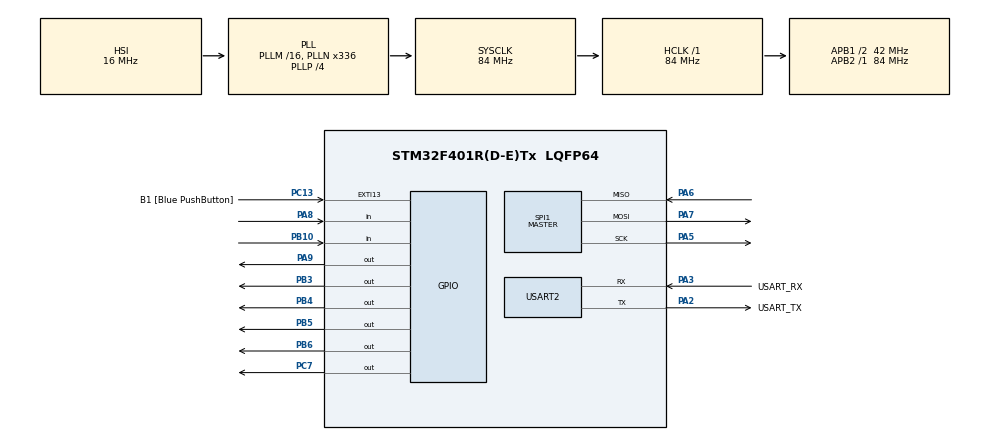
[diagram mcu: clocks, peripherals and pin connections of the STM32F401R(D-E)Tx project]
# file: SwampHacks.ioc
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Mcu.Family=STM32F4
Mcu.Name=STM32F401R(D-E)Tx
Mcu.Package=LQFP64
NVIC.PriorityGroup=NVIC_PRIORITYGROUP_4
PA13.GPIO_Label=TMS
PA13.Signal=SYS_JTMS-SWDIO
PA14.GPIO_Label=TCK
PA14.Signal=SYS_JTCK-SWCLK
PA2.GPIO_Label=USART_TX
PA2.GPIO_Mode=GPIO_MODE_AF_PP
PA2.GPIO_PuPd=GPIO_NOPULL
PA2.GPIO_Speed=GPIO_SPEED_FREQ_LOW
PA2.Mode=Asynchronous
PA2.Signal=USART2_TX
PA3.GPIO_Label=USART_RX
PA3.GPIO_Mode=GPIO_MODE_AF_PP
PA3.GPIO_PuPd=GPIO_NOPULL
PA3.GPIO_Speed=GPIO_SPEED_FREQ_LOW
PA3.Mode=Asynchronous
PA3.Signal=USART2_RX
PA5.Mode=Full_Duplex_Master
PA5.Signal=SPI1_SCK
PA6.Mode=Full_Duplex_Master
PA6.Signal=SPI1_MISO
PA7.Mode=Full_Duplex_Master
PA7.Signal=SPI1_MOSI
PA8.GPIO_PuPd=GPIO_PULLUP
PA8.Signal=GPIO_Input
PA9.Signal=GPIO_Output
PB10.GPIO_PuPd=GPIO_PULLUP
PB10.Signal=GPIO_Input
PB3.Signal=GPIO_Output
PB4.Signal=GPIO_Output
PB5.Signal=GPIO_Output
PB6.Signal=GPIO_Output
PC13-ANTI_TAMP.GPIO_Label=B1 [Blue PushButton]
PC13-ANTI_TAMP.GPIO_ModeDefaultEXTI=GPIO_MODE_IT_FALLING
PC13-ANTI_TAMP.GPIO_PuPd=GPIO_NOPULL
PC13-ANTI_TAMP.Signal=GPXTI13
PC14-OSC32_IN.Mode=LSE-External-Oscillator
PC14-OSC32_IN.Signal=RCC_OSC32_IN
PC15-OSC32_OUT.Mode=LSE-External-Oscillator
PC15-OSC32_OUT.Signal=RCC_OSC32_OUT
PC7.Signal=GPIO_Output
PH0\ -\ OSC_IN.Mode=HSE-External-Clock-Source
PH0\ -\ OSC_IN.Signal=RCC_OSC_IN
PH1\ -\ OSC_OUT.Mode=HSE-External-Clock-Source
PH1\ -\ OSC_OUT.Signal=RCC_OSC_OUT
ProjectManager.HeapSize=0x200
ProjectManager.StackSize=0x400
ProjectManager.TargetToolchain=CMake
RCC.48MHZClocksFreq_Value=48000000
RCC.AHBFreq_Value=84000000
RCC.APB1CLKDivider=RCC_HCLK_DIV2
RCC.APB1Freq_Value=42000000
RCC.APB1TimFreq_Value=84000000
RCC.APB2Freq_Value=84000000
RCC.APB2TimFreq_Value=84000000
RCC.CortexFreq_Value=84000000
RCC.HCLKFreq_Value=84000000
RCC.HSE_VALUE=8000000
RCC.HSI_VALUE=16000000
RCC.PLLN=336
RCC.PLLP=RCC_PLLP_DIV4
RCC.PLLQ=7
RCC.SYSCLKFreq_VALUE=84000000
RCC.SYSCLKSource=RCC_SYSCLKSOURCE_PLLCLK
RCC.VCOOutputFreq_Value=336000000
SPI1.BaudRatePrescaler=SPI_BAUDRATEPRESCALER_8
SPI1.Direction=SPI_DIRECTION_2LINES
SPI1.Mode=SPI_MODE_MASTER
SPI1.VirtualType=VM_MASTER
USART2.VirtualMode=VM_ASYNC
board=NUCLEO-F401RE

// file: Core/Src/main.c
/* USER CODE BEGIN Header */
/**
  ******************************************************************************
  * @file           : main.c
  * @brief          : Main program body
  ******************************************************************************
  * @attention
  *
  * Copyright (c) 2026 STMicroelectronics.
  * All rights reserved.
  *
  * This software is licensed under terms that can be found in the LICENSE file
  * in the root directory of this software component.
  * If no LICENSE file comes with this software, it is provided AS-IS.
  *
  ******************************************************************************
  */
/* USER CODE END Header */
#include "main.h"

/* USER CODE BEGIN Includes */
#include <stdio.h>
#include <string.h>
/* USER CODE END Includes */

SPI_HandleTypeDef hspi1;

UART_HandleTypeDef huart2;

void SystemClock_Config(void);
static void MX_GPIO_Init(void);
static void MX_USART2_UART_Init(void);
static void MX_SPI1_Init(void);

/* USER CODE BEGIN 0 */

// === LCD PIN NAMES ===
#define LCD_CS_PORT   GPIOB       // CHIP SELECTf
#define LCD_CS_PIN    GPIO_PIN_6  // IF LOW THEN LISTEN

#define LCD_DC_PORT   GPIOC       // DATA
#define LCD_DC_PIN    GPIO_PIN_7  // IF LOW; COMMAND | IF HIGH; SEND BYTES

#define LCD_RST_PORT  GPIOA       // REBOOT; LOW TO HIGH
#define LCD_RST_PIN   GPIO_PIN_9

// === OUR HAL FOR THE DISPLAY ===

void LCD_WriteCmd(uint8_t cmd)
{
  HAL_GPIO_WritePin(LCD_DC_PORT, LCD_DC_PIN, GPIO_PIN_RESET); // we're about to send a COMMAND (1byte) to screen
  HAL_GPIO_WritePin(LCD_CS_PORT, LCD_CS_PIN, GPIO_PIN_RESET); // make screen listen
  HAL_SPI_Transmit(&hspi1, &cmd,1, 10);
  HAL_GPIO_WritePin(LCD_CS_PORT, LCD_CS_PIN, GPIO_PIN_SET); // done talking; stop listening
}

void LCD_WriteData(uint8_t data)
{
  HAL_GPIO_WritePin(LCD_DC_PORT, LCD_DC_PIN, GPIO_PIN_SET);   // we're about to send DATA to screen
  HAL_GPIO_WritePin(LCD_CS_PORT, LCD_CS_PIN, GPIO_PIN_RESET); // make screen listen
  HAL_SPI_Transmit(&hspi1, &data,1, 10);
  HAL_GPIO_WritePin(LCD_CS_PORT, LCD_CS_PIN, GPIO_PIN_SET); // done talking; stop listening
}

void LCD_Init(void)
{
  HAL_GPIO_WritePin(LCD_CS_PORT, LCD_CS_PIN, GPIO_PIN_SET); // not sending anything
  HAL_GPIO_WritePin(LCD_RST_PORT, LCD_RST_PIN, GPIO_PIN_RESET);
  HAL_Delay(50);
  HAL_GPIO_WritePin(LCD_RST_PORT, LCD_RST_PIN, GPIO_PIN_SET); // reset done
  HAL_Delay(120);

  // command 0x01 is to RESET
  LCD_WriteCmd(0x01);
  HAL_Delay(100);

  // command 0x11 is sleep out (WAKE UP) to starts the voltage supply
  LCD_WriteCmd(0x11);
  HAL_Delay(120);

  // command 0x3A is for PIXEL FORMAT, then 0x55 means 16bit input (screen manufacturer decided)
  // , we just want 2bytes for the color of a pixel
  LCD_WriteCmd(0x3A);
  LCD_WriteData(0x55);

  // command 0x36 is for MEMORY CONTROL, then data 0x48 for portrait orientation and BGR color order
  LCD_WriteCmd(0x36);
  LCD_WriteData(0x48);

  // command 0x29 is to TURN ON DISPLAY
  LCD_WriteCmd(0x29);
  HAL_Delay(20);
}

//16 BIT COLOR
//16 BIT
void LCD_DrawRect(uint16_t x, uint16_t y, uint16_t w, uint16_t h, uint16_t color)
{
  uint16_t x2 = x + w - 1;   // LAST COLUMN (last x at 239)
  uint16_t y2 = y + h - 1;   // LAST ROW (last y at 319)

  // === COMMAND TO SET 1ST BOUNDARY PIXEL ===

  LCD_WriteCmd(0x2A);            // next 4 data COMMAND bytes for column

  // START COLUMN X
  LCD_WriteData(x >> 8);         // send high byte
  LCD_WriteData(x & 0xFF);       // send low byte

  // END COLUMN X
  LCD_WriteData(x2 >> 8);        // send high byte
  LCD_WriteData(x2 & 0xFF);      // send low byte

  // === COMMAND TO SET 2ND BOUNDARY PIXEL ===

  LCD_WriteCmd(0x2B);            // next 4 data COMMAND bytes for row

  // START ROW Y
  LCD_WriteData(y >> 8);         // send high byte
  LCD_WriteData(y & 0xFF);       // send low byte

  // END ROW Y
  LCD_WriteData(y2 >> 8);        // send high byte
  LCD_WriteData(y2 & 0xFF);      // send low byte

  // === WRITE TO SCREENS MEMORY TO DRAW BACKGROUND ===

  LCD_WriteCmd(0x2C);

  uint8_t pix[2] = { color >> 8, color & 0xFF};
  HAL_GPIO_WritePin(LCD_DC_PORT, LCD_DC_PIN, GPIO_PIN_SET);
  HAL_GPIO_WritePin(LCD_CS_PORT, LCD_CS_PIN, GPIO_PIN_RESET);
  for (int i = 0 ; i < w*h ; i++)
  {
    HAL_SPI_Transmit(&hspi1, pix, 2, 10);
  }
  HAL_GPIO_WritePin(LCD_CS_PORT, LCD_CS_PIN, GPIO_PIN_SET);
}

#define RGB565(r, g, b)  ( (((r) & 0xF8) << 8) | (((g) & 0xFC) << 3) | ((b) >> 3) )

static uint32_t rng_state = 12345;
static uint32_t Rand(void)
{
  rng_state = rng_state * 1103515245u + 12345u;   // random generator
  return (rng_state >> 16) & 0x7FFF;
}

static void Frame(uint16_t t, uint16_t color)       // make a border t pixels thick
{
  LCD_DrawRect(0, 0, 240, t, color);
  LCD_DrawRect(0, 320 - t, 240, t, color);
  LCD_DrawRect(0, 0, t, 320, color);
  LCD_DrawRect(240 - t, 0, t, 320, color);
}

void LCD_DrawPaper(void)
{
  rng_state = 12345;

  // BASE PAPER
  LCD_DrawRect(0, 0, 240, 320, RGB565(210, 180, 140));

  // BLOTCHES
  for (int i = 0; i < 25; i++)
  {
    // Random width and heigght (between 0 and 30)
    uint16_t w = 10 + Rand() % 30;
    uint16_t h = 10 + Rand() % 30;

    // Random x and y position for top left of blotch rectangle so it wont come off the screen
    uint16_t x = Rand() % (240 - w);
    uint16_t y = Rand() % (320 - h);

    uint16_t blotchColor;
    if (i % 2) { // basically an alternating boolean
      blotchColor = RGB565(218, 190, 150);
    } else {
      blotchColor = RGB565(200, 168, 128);
    }
    LCD_DrawRect(x, y, w, h, blotchColor);
  }

  // GUNK SPECKS
  for (int i = 0 ; i < 60 ; i++)
  {
    uint16_t x = Rand() % 238;       // random column
    uint16_t y = Rand() % 318;       // random row
    uint16_t w = 1 + Rand() % 2;     // 1 or 2 pixels wide
    uint16_t h = 1 + Rand() % 2;     // 1 or 2 pixels tall
    LCD_DrawRect(x, y, w, h, RGB565(150, 110, 70));
  }
  // DARKER BORDERS
  Frame(12, RGB565(205, 173, 131));
  Frame(8,  RGB565(197, 162, 118));
  Frame(4,  RGB565(185, 148, 104));
}

#define T_IRQ_PORT GPIOA
#define T_IRQ_PIN  GPIO_PIN_8 // ACTIVE LOW FOR TRUE PRESSED

uint8_t Touch_IsPressed(void)
{
  if (HAL_GPIO_ReadPin(T_IRQ_PORT, T_IRQ_PIN) == GPIO_PIN_RESET)
  {
  return 1;
  } else {
    return 0;
  }
}

#define T_DO_PORT GPIOB
#define T_DO_PIN  GPIO_PIN_10 // SEND A TOUCH INPUT FROM TOUCH CHIP TO THE STM32

#define T_DIN_PORT GPIOB
#define T_DIN_PIN  GPIO_PIN_4 // SEND AN STM32 INPUT TO THE TOUCH CHIP

#define T_CS_PORT GPIOB
#define T_CS_PIN  GPIO_PIN_5 // ACTIVE LOW TO TALK TO CHIP

#define T_CLK_PORT GPIOB
#define T_CLK_PIN GPIO_PIN_3 // CLOCK; RISE AND FALL EDGE TO SEND 1BIT

static void Touch_Delay(void)
{
  for (volatile int d = 0 ; d < 30 ; d++);
}

// This screen uses the XPT2046 touch chip which we communicate with more crudely since the STM32s SPI wires are already
// being used by the ILI9341 display chip (he's more complex to mess with)
uint16_t Touch_ReadUncalibrated(uint8_t cmd)
{
  uint16_t data = 0;

  HAL_GPIO_WritePin(T_CS_PORT, T_CS_PIN, GPIO_PIN_RESET); // select xpt2046

  // === SENDING X/Y LISTENING COMMAND TO XPT2046 ===
  // OxD0 for X
  // 0x90 for Y

  for (int i = 7 ; i >= 0 ; i--) // translating command to binary XPT2046 understands
  {
    if (cmd & (1 << i) )
    {
     HAL_GPIO_WritePin(T_DIN_PORT,T_DIN_PIN,GPIO_PIN_SET);
    } else {
      HAL_GPIO_WritePin(T_DIN_PORT,T_DIN_PIN,GPIO_PIN_RESET);
    }

    // Set up clock; want it to alternate at a reasonable rate so that the XPT2046 can keep up to read incoming bits
    HAL_GPIO_WritePin(T_CLK_PORT, T_CLK_PIN, GPIO_PIN_SET);
    Touch_Delay();
    HAL_GPIO_WritePin(T_CLK_PORT, T_CLK_PIN, GPIO_PIN_RESET);
    Touch_Delay();
  }

  // === READING WHAT XPT2046 SAYS THE X/Y POSITION IS ==

  for (int i = 15 ; i >= 0 ; i--)
  {
    HAL_GPIO_WritePin(T_CLK_PORT, T_CLK_PIN, GPIO_PIN_SET); // rising edge; TDO stays same
    Touch_Delay();

    if (HAL_GPIO_ReadPin(T_DO_PORT, T_DO_PIN) == GPIO_PIN_SET) // force a 1 in all the spots that have a 1
    {
      data |= (1 << i);
    }

    HAL_GPIO_WritePin(T_CLK_PORT, T_CLK_PIN, GPIO_PIN_RESET); // falling edge; TDO sends a bit
    Touch_Delay();
  }

  HAL_GPIO_WritePin(T_CS_PORT, T_CS_PIN, GPIO_PIN_SET);

  //Positions are only 12 bits long, so move over 3
  return (data >> 3) & 0x0FFF;
}

// === RECALIBRATE THE READING OF THE WAND ===
//force an OK value?

uint8_t Touch_ReadFiltered(uint16_t *outX, uint16_t *outY)
{
  // Total of multiple tries to measure
  uint32_t sumX = 0;
  uint32_t sumY = 0;

  //Highest and lowest readings; basically wanting to bring these extremes close
  uint16_t minX = 4095;
  uint16_t maxX = 0;
  uint16_t minY = 4095;
  uint16_t maxY = 0;

  for (int i = 0 ; i < 5 ; i++) // SAMPLE 5 TIMES !!!!!!MIGHT NEED TO TRY MORE!!!!!!!!!!
  {
    if (!Touch_IsPressed())
    {
      return 0;
    }

    uint16_t rx = Touch_ReadUncalibrated(0xD0);
    uint16_t ry = Touch_ReadUncalibrated(0x90);

    if (rx < 150 || rx > 3950 || ry < 150 || ry > 3950)
    {
      return 0;
    }

    if (rx < minX)
    {
      minX = rx;
    }

    if (rx > maxX)
    {
      maxX = rx;
    }

    if (ry < minY)
    {
      minY = ry;
    }

    if (ry > maxY)
    {
      maxY = ry;
    }

    sumX += rx;
    sumY += ry;
  }

  if ((maxX - minX) > 60 || (maxY - minY) > 60)
  {
    return 0;
  }

  *outX = sumX / 5;
  *outY = sumY / 5;
  return 1;
}

// === SPELL CASTING AND SENDING ===

void Send_Text(const char *text) //ufart what spell casted
{
  HAL_UART_Transmit(&huart2, (uint8_t *)text, strlen(text), 100);
}

#define SPELL_NONE      0
#define SPELL_WATER     1
#define SPELL_LIGHTNING 2
#define SPELL_FIRE      3
#define SPELL_WIND      4

uint8_t Recognize_Spell(int width, int height, int gap)
{
  if (width > 40 && height > 40 && gap < (width + height) / 3)
  {
    return SPELL_FIRE; // fire is when squareish and a pointy side
  }

  if (width > 40 && height < (width/5))
  {
    return SPELL_WATER; // water is when just wide and kinda flat
  }

  if (height > 40 && height > width * 2)
  {
    return SPELL_LIGHTNING; // lightning is when evil water
  }

  if (width > 40 && height > width/4) {
    return SPELL_WIND;
  }

  return SPELL_NONE;
}

/* USER CODE END 0 */

int main(void)
{

  /* MCU Configuration--------------------------------------------------------*/

  /* Reset of all peripherals, Initializes the Flash interface and the Systick. */
  HAL_Init();

  /* Configure the system clock */
  SystemClock_Config();

  /* Initialize all configured peripherals */
  MX_GPIO_Init();
  MX_USART2_UART_Init();
  MX_SPI1_Init();
  /* USER CODE BEGIN 2 */

  HAL_GPIO_WritePin(T_CS_PORT, T_CS_PIN, GPIO_PIN_SET);

  LCD_Init();
  LCD_DrawPaper();

  uint16_t cal_x1=0;
  uint16_t cal_y1=0; // calibration point 1

  uint16_t cal_x2=0;
  uint16_t cal_y2=0; // calibration point 2

  LCD_DrawRect(15,15,12,12, RGB565(255,0,0));

  while (!Touch_ReadFiltered(&cal_x1, &cal_y1)); // GUARANTEE STABLE READING

  LCD_DrawPaper();
  while (Touch_IsPressed());
  HAL_Delay(200);

  LCD_DrawRect(214, 294, 12, 12, RGB565(0, 255, 0));

  while (!Touch_ReadFiltered(&cal_x2, &cal_y2)); // SAME ^^^

  LCD_DrawPaper();
  while (Touch_IsPressed());
  HAL_Delay(200);

  int red_x = 20;
  int red_y = 20;

  int green_x = 220;
  int green_y = 300;

  int point_count = 0;

  uint32_t last_touch_time = 0;

  int start_x = 0;
  int start_y = 0;

  int end_x = 0;
  int end_y = 0;

  int min_x = 0;
  int max_x = 0;

  int min_y = 0;
  int max_y = 0;

  int stroke_count = 0;

  int first_min_x = 0;
  int first_max_x = 0;

  int first_min_y = 0;
  int first_max_y = 0;

  int first_gap = 0;

  /* USER CODE END 2 */

  /* Infinite loop */
  while (1)
  {

    /* USER CODE BEGIN 3 */

    uint16_t rx;
    uint16_t ry;

    if (Touch_ReadFiltered(&rx, &ry)) // good reading will grant rx and ry pointers that point to them that will fill them
    {
      int x_from_red_tap = rx - cal_x1;     // current x position sample with offset from calibrated x
      int x_between_taps = cal_x2 - cal_x1; // corner to corner to know width
      int pixels_between_boxes_x = green_x - red_x;
      int px = red_x + x_from_red_tap * pixels_between_boxes_x / x_between_taps; // starting with red_x for baseline
      // ^ BASELINE + (FRACTION OF THE WAY ACROSS  * PIXEL DISTANCE BETWEEN THE BOXES) is current pixel's x

      int y_from_red_tap = ry - cal_y1;
      int y_between_taps = cal_y2 - cal_y1;
      int pixels_between_boxes_y = green_y - red_y;
      int py = red_y + y_from_red_tap * pixels_between_boxes_y / y_between_taps; // SAME FOR Y ^^^

      if (px >= 0 && px <= 235 && py >= 0 && py <= 315) // on screen with space for the ink dot
      {
        LCD_DrawRect(px, py, 4, 4, RGB565(70, 40, 20)); //ink
        last_touch_time = HAL_GetTick();

        if (point_count == 0) // STARTING POINT
        {
          start_x = px;
          start_y = py;
          min_x = px;
          max_x = px;
          min_y = py;
          max_y = py;
        }

        end_x = px;
        end_y = py;

        if (px < min_x) { min_x = px; } // if going left, make new dot corners
        if (px > max_x) { max_x = px; } // if going right, ^

        if (py < min_y) { min_y = py; } // if going UP, ^
        if (py > max_y) { max_y = py; } // if going DOWN, ^

        point_count++;
      }
    }

    else if (point_count > 0 && HAL_GetTick() - last_touch_time > 200)
    {
      int width = max_x - min_x;
      int height = max_y - min_y; // extreme dimensions of stroke just finished

      int gap_x = end_x - start_x;
      int gap_y = end_y - start_y; // how far the extreme dimensions are from where they started

      if (gap_x < 0) { gap_x = -gap_x; }
      if (gap_y < 0) { gap_y = -gap_y; }

      int gap = gap_x + gap_y; // total start TO end distance; so the smaller the more closed

        // === FIRST STROKE ===

      if (stroke_count == 0)
      {
        first_min_x = min_x;
        first_max_x = max_x;
        first_min_y = min_y;
        first_max_y = max_y;
        first_gap = gap;    // copy the first stroke's data before 2nd stroke overwrites

        stroke_count = 1; // got 1, need 2nd
        point_count = 0;  // give 2nd stroke a fresh start
      }
        // === SECOND STROKE ===
      else
      {
        int first_width = first_max_x - first_min_x;
        int first_height = first_max_y - first_min_y; // extremes

        int circle_surrounds_symbol = 0;
        // x num grow left to right
        // y num grow top to bottom
        if (min_x < first_min_x && max_x > first_max_x && min_y < first_min_y && max_y > first_max_y)
        {
          circle_surrounds_symbol = 1;
        }

        int circle_is_closed = 0;
        if (gap < (width + height) / 5) // eyeball circle being closed
        {
          circle_is_closed = 1;
        }

        uint8_t spell = SPELL_NONE;

        if (circle_surrounds_symbol && circle_is_closed) // activate spell once sealed
        {
          spell = Recognize_Spell(first_width, first_height, first_gap);
        }

        if (spell == SPELL_WATER)
        {
          LCD_DrawRect(0, 0, 240, 320, RGB565(0, 0, 255));
          Send_Text("WATER\r\n");
          HAL_Delay(600);
        }
        else if (spell == SPELL_LIGHTNING)
        {
          LCD_DrawRect(0, 0, 240, 320, RGB565(255, 255, 0));
          Send_Text("LIGHTNING\r\n");
          HAL_Delay(600);
        }
        else if (spell == SPELL_FIRE)
        {
          LCD_DrawRect(0, 0, 240, 320, RGB565(255, 0, 0));
          Send_Text("FIRE\r\n");
          HAL_Delay(600);
        }

        else if (spell == SPELL_WIND) {
          LCD_DrawRect(0, 0, 240, 320, RGB565(0,0,0));
          Send_Text("WIND\r\n");
          HAL_Delay(600);
        }

        else
        {
          HAL_Delay(300);
        }

        LCD_DrawPaper();
        point_count = 0;
        stroke_count = 0;
      }
    }
    else if (stroke_count == 1 && point_count == 0 && HAL_GetTick() - last_touch_time > 4000)
    {
      LCD_DrawPaper();
      stroke_count = 0;
    }

  }
  /* USER CODE END 3 */
}

void SystemClock_Config(void)
{
  RCC_OscInitTypeDef RCC_OscInitStruct = {0};
  RCC_ClkInitTypeDef RCC_ClkInitStruct = {0};

  /** Configure the main internal regulator output voltage
  */
  __HAL_RCC_PWR_CLK_ENABLE();
  __HAL_PWR_VOLTAGESCALING_CONFIG(PWR_REGULATOR_VOLTAGE_SCALE2);

  /** Initializes the RCC Oscillators according to the specified parameters
  * in the RCC_OscInitTypeDef structure.
  */
  RCC_OscInitStruct.OscillatorType = RCC_OSCILLATORTYPE_HSI;
  RCC_OscInitStruct.HSIState = RCC_HSI_ON;
  RCC_OscInitStruct.HSICalibrationValue = RCC_HSICALIBRATION_DEFAULT;
  RCC_OscInitStruct.PLL.PLLState = RCC_PLL_ON;
  RCC_OscInitStruct.PLL.PLLSource = RCC_PLLSOURCE_HSI;
  RCC_OscInitStruct.PLL.PLLM = 16;
  RCC_OscInitStruct.PLL.PLLN = 336;
  RCC_OscInitStruct.PLL.PLLP = RCC_PLLP_DIV4;
  RCC_OscInitStruct.PLL.PLLQ = 7;
  if (HAL_RCC_OscConfig(&RCC_OscInitStruct) != HAL_OK)
  {
    Error_Handler();
  }

  /** Initializes the CPU, AHB and APB buses clocks
  */
  RCC_ClkInitStruct.ClockType = RCC_CLOCKTYPE_HCLK|RCC_CLOCKTYPE_SYSCLK
                              |RCC_CLOCKTYPE_PCLK1|RCC_CLOCKTYPE_PCLK2;
  RCC_ClkInitStruct.SYSCLKSource = RCC_SYSCLKSOURCE_PLLCLK;
  RCC_ClkInitStruct.AHBCLKDivider = RCC_SYSCLK_DIV1;
  RCC_ClkInitStruct.APB1CLKDivider = RCC_HCLK_DIV2;
  RCC_ClkInitStruct.APB2CLKDivider = RCC_HCLK_DIV1;

  if (HAL_RCC_ClockConfig(&RCC_ClkInitStruct, FLASH_LATENCY_2) != HAL_OK)
  {
    Error_Handler();
  }
}

static void MX_SPI1_Init(void)
{

  /* SPI1 parameter configuration*/
  hspi1.Instance = SPI1;
  hspi1.Init.Mode = SPI_MODE_MASTER;
  hspi1.Init.Direction = SPI_DIRECTION_2LINES;
  hspi1.Init.DataSize = SPI_DATASIZE_8BIT;
  hspi1.Init.CLKPolarity = SPI_POLARITY_LOW;
  hspi1.Init.CLKPhase = SPI_PHASE_1EDGE;
  hspi1.Init.NSS = SPI_NSS_SOFT;
  hspi1.Init.BaudRatePrescaler = SPI_BAUDRATEPRESCALER_8;
  hspi1.Init.FirstBit = SPI_FIRSTBIT_MSB;
  hspi1.Init.TIMode = SPI_TIMODE_DISABLE;
  hspi1.Init.CRCCalculation = SPI_CRCCALCULATION_DISABLE;
  hspi1.Init.CRCPolynomial = 10;
  if (HAL_SPI_Init(&hspi1) != HAL_OK)
  {
    Error_Handler();
  }

}

static void MX_USART2_UART_Init(void)
{

  huart2.Instance = USART2;
  huart2.Init.BaudRate = 115200;
  huart2.Init.WordLength = UART_WORDLENGTH_8B;
  huart2.Init.StopBits = UART_STOPBITS_1;
  huart2.Init.Parity = UART_PARITY_NONE;
  huart2.Init.Mode = UART_MODE_TX_RX;
  huart2.Init.HwFlowCtl = UART_HWCONTROL_NONE;
  huart2.Init.OverSampling = UART_OVERSAMPLING_16;
  if (HAL_UART_Init(&huart2) != HAL_OK)
  {
    Error_Handler();
  }

}

static void MX_GPIO_Init(void)
{
  GPIO_InitTypeDef GPIO_InitStruct = {0};

  /* GPIO Ports Clock Enable */
  __HAL_RCC_GPIOC_CLK_ENABLE();
  __HAL_RCC_GPIOH_CLK_ENABLE();
  __HAL_RCC_GPIOA_CLK_ENABLE();
  __HAL_RCC_GPIOB_CLK_ENABLE();

  /*Configure GPIO pin Output Level */
  HAL_GPIO_WritePin(GPIOC, GPIO_PIN_7, GPIO_PIN_RESET);

  /*Configure GPIO pin Output Level */
  HAL_GPIO_WritePin(GPIOA, GPIO_PIN_9, GPIO_PIN_RESET);

  /*Configure GPIO pin Output Level */
  HAL_GPIO_WritePin(GPIOB, GPIO_PIN_3|GPIO_PIN_4|GPIO_PIN_5|GPIO_PIN_6, GPIO_PIN_RESET);

  /*Configure GPIO pin : B1_Pin */
  GPIO_InitStruct.Pin = B1_Pin;
  GPIO_InitStruct.Mode = GPIO_MODE_IT_FALLING;
  GPIO_InitStruct.Pull = GPIO_NOPULL;
  HAL_GPIO_Init(B1_GPIO_Port, &GPIO_InitStruct);

  /*Configure GPIO pin : PB10 */
  GPIO_InitStruct.Pin = GPIO_PIN_10;
  GPIO_InitStruct.Mode = GPIO_MODE_INPUT;
  GPIO_InitStruct.Pull = GPIO_PULLUP;
  HAL_GPIO_Init(GPIOB, &GPIO_InitStruct);

  /*Configure GPIO pin : PC7 */
  GPIO_InitStruct.Pin = GPIO_PIN_7;
  GPIO_InitStruct.Mode = GPIO_MODE_OUTPUT_PP;
  GPIO_InitStruct.Pull = GPIO_NOPULL;
  GPIO_InitStruct.Speed = GPIO_SPEED_FREQ_LOW;
  HAL_GPIO_Init(GPIOC, &GPIO_InitStruct);

  /*Configure GPIO pin : PA8 */
  GPIO_InitStruct.Pin = GPIO_PIN_8;
  GPIO_InitStruct.Mode = GPIO_MODE_INPUT;
  GPIO_InitStruct.Pull = GPIO_PULLUP;
  HAL_GPIO_Init(GPIOA, &GPIO_InitStruct);

  /*Configure GPIO pin : PA9 */
  GPIO_InitStruct.Pin = GPIO_PIN_9;
  GPIO_InitStruct.Mode = GPIO_MODE_OUTPUT_PP;
  GPIO_InitStruct.Pull = GPIO_NOPULL;
  GPIO_InitStruct.Speed = GPIO_SPEED_FREQ_LOW;
  HAL_GPIO_Init(GPIOA, &GPIO_InitStruct);

  /*Configure GPIO pins : PB3 PB4 PB5 PB6 */
  GPIO_InitStruct.Pin = GPIO_PIN_3|GPIO_PIN_4|GPIO_PIN_5|GPIO_PIN_6;
  GPIO_InitStruct.Mode = GPIO_MODE_OUTPUT_PP;
  GPIO_InitStruct.Pull = GPIO_NOPULL;
  GPIO_InitStruct.Speed = GPIO_SPEED_FREQ_LOW;
  HAL_GPIO_Init(GPIOB, &GPIO_InitStruct);

}

void Error_Handler(void)
{
  __disable_irq();
  while (1)
  {
  }
}
